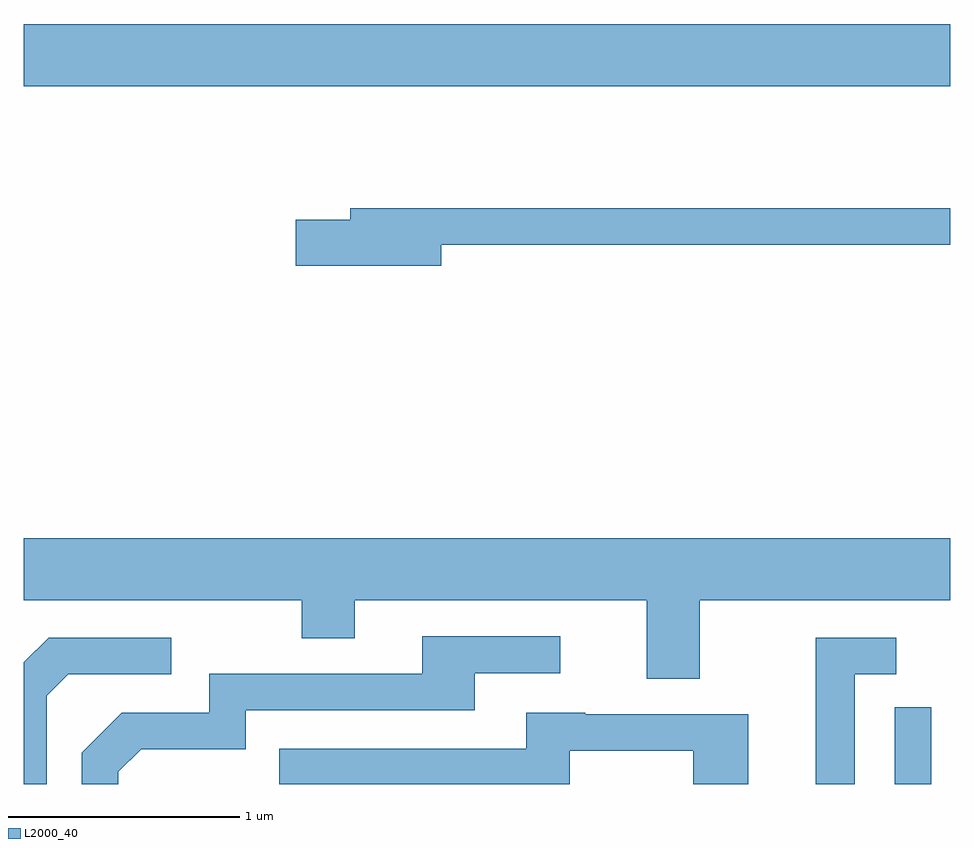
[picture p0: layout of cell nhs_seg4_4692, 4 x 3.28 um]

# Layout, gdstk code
import gdstk
lib = gdstk.Library(unit=1e-6, precision=1e-09)
def R(c, l, rs):  # rectangles x0, y0, x1, y1
    for r in rs: c.add(gdstk.rectangle(r[:2], r[2:], *l))
def P(c, l, *ps):  # polygons
    for p in ps: c.add(gdstk.Polygon(p, *l))
L2000_40 = (2000, 40)

nhs_seg4_4692 = lib.new_cell('nhs_seg4_4692')
R(nhs_seg4_4692, L2000_40, [(327.371,1253.982,327.529,1254.313), (323.611,1256.996,327.611,1257.264)])
P(nhs_seg4_4692, L2000_40, [(325.414,1256.311),(327.611,1256.311),(327.611,1256.469),(325.021,1256.469),(325.021,1256.419),(324.786,1256.419),(324.786,1256.221),(325.414,1256.221)],
  [(326.529,1254.776),(327.611,1254.776),(327.611,1255.044),(323.611,1255.044),(323.611,1254.776),(324.811,1254.776),(324.811,1254.611),(325.039,1254.611),(325.039,1254.776),(326.301,1254.776),(326.301,1254.436),(326.529,1254.436)],
  [(324.019,1254.034),(324.117,1254.131),(324.569,1254.131),(324.569,1254.301),(325.559,1254.301),(325.559,1254.461),(325.928,1254.461),(325.928,1254.619),(325.331,1254.619),(325.331,1254.459),(324.411,1254.459),(324.411,1254.289),(324.034,1254.289),(323.861,1254.117),(323.861,1253.982),(324.019,1253.982)],
  [(327.199,1254.456),(327.378,1254.456),(327.378,1254.614),(327.031,1254.614),(327.031,1253.982),(327.199,1253.982)],
  [(323.709,1254.364),(323.802,1254.456),(324.248,1254.456),(324.248,1254.614),(323.719,1254.614),(323.611,1254.507),(323.611,1253.982),(323.709,1253.982)],
  [(325.969,1254.126),(326.501,1254.126),(326.501,1253.982),(326.739,1253.982),(326.739,1254.284),(326.035,1254.284),(326.035,1254.289),(325.781,1254.289),(325.781,1254.134),(324.713,1254.134),(324.713,1253.982),(325.969,1253.982)])

lib.write_gds('nhs_seg4_4692.gds')
